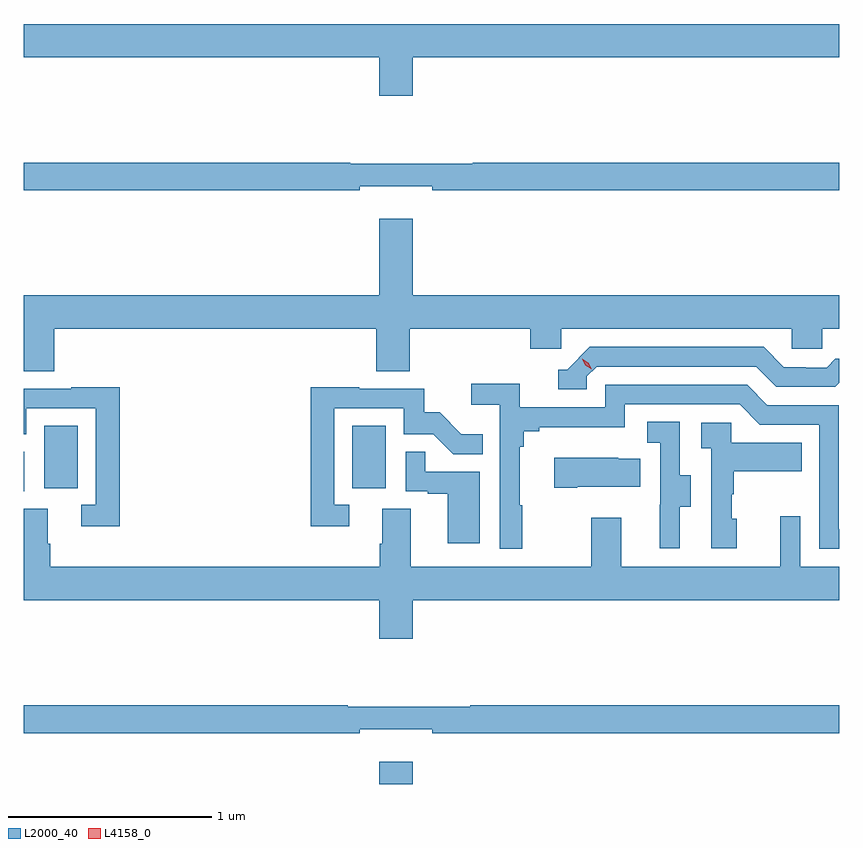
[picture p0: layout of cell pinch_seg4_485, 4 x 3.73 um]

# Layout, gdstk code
import gdstk
lib = gdstk.Library(unit=1e-6, precision=1e-09)
def R(c, l, rs):  # rectangles x0, y0, x1, y1
    for r in rs: c.add(gdstk.rectangle(r[:2], r[2:], *l))
def P(c, l, *ps):  # polygons
    for p in ps: c.add(gdstk.Polygon(p, *l))
L2000_40 = (2000, 40)
L4158_0 = (4158, 0)

pinch_seg4_485 = lib.new_cell('pinch_seg4_485')
R(pinch_seg4_485, L2000_40, [(932.24,762.618,932.404,762.727), (930.496,764.055,930.498,764.249), (930.596,764.07,930.76,764.377), (932.108,764.07,932.272,764.377)])
P(pinch_seg4_485, L2000_40, [(932.404,766.184),(934.496,766.184),(934.496,766.348),(930.496,766.348),(930.496,766.184),(932.24,766.184),(932.24,765.996),(932.404,765.996)],
  [(932.144,765.551),(932.5,765.551),(932.5,765.532),(934.496,765.532),(934.496,765.668),(932.698,765.668),(932.698,765.661),(932.098,765.661),(932.098,765.668),(930.496,765.668),(930.496,765.532),(932.144,765.532)],
  [(930.644,764.852),(932.225,764.852),(932.225,764.644),(932.39,764.644),(932.39,764.852),(932.981,764.852),(932.981,764.754),(933.132,764.754),(933.132,764.852),(934.263,764.852),(934.263,764.754),(934.413,764.754),(934.413,764.852),(934.496,764.852),(934.496,765.016),(932.404,765.016),(932.404,765.391),(932.24,765.391),(932.24,765.016),(930.496,765.016),(930.496,764.644),(930.644,764.644)],
  [(933.258,764.619),(933.306,764.667),(934.089,764.667),(934.188,764.568),(934.477,764.568),(934.496,764.587),(934.496,764.704),(934.477,764.704),(934.435,764.661),(934.332,764.661),(934.332,764.664),(934.225,764.664),(934.126,764.763),(933.273,764.763),(933.162,764.652),(933.119,764.652),(933.119,764.556),(933.258,764.556)],
  [(932.941,763.985),(932.929,763.985),(932.929,764.273),(932.948,764.273),(932.948,764.35),(933.025,764.35),(933.025,764.369),(933.444,764.369),(933.444,764.481),(934.008,764.481),(934.107,764.382),(934.398,764.382),(934.398,763.773),(934.496,763.773),(934.496,763.869),(934.494,763.869),(934.494,764.478),(934.144,764.478),(934.045,764.577),(933.348,764.577),(933.348,764.466),(932.93,764.466),(932.93,764.582),(932.691,764.582),(932.691,764.48),(932.832,764.48),(932.832,763.773),(932.941,763.773)],
  [(932.092,763.989),(932.019,763.989),(932.019,764.463),(932.361,764.463),(932.361,764.334),(932.505,764.334),(932.603,764.236),(932.747,764.236),(932.747,764.335),(932.643,764.335),(932.536,764.442),(932.46,764.442),(932.46,764.559),(932.141,764.559),(932.141,764.564),(931.903,764.564),(931.903,763.884),(932.092,763.884)],
  [(930.965,764.564),(930.727,764.564),(930.727,764.559),(930.496,764.559),(930.496,764.334),(930.507,764.334),(930.507,764.463),(930.849,764.463),(930.849,763.989),(930.777,763.989),(930.777,763.884),(930.965,763.884)],
  [(933.715,763.978),(933.769,763.978),(933.769,764.133),(933.714,764.133),(933.714,764.396),(933.555,764.396),(933.555,764.293),(933.618,764.293),(933.618,763.989),(933.617,763.989),(933.617,763.776),(933.715,763.776)],
  [(933.994,763.92),(933.969,763.92),(933.969,764.039),(933.979,764.039),(933.979,764.153),(934.313,764.153),(934.313,764.293),(933.966,764.293),(933.966,764.391),(933.819,764.391),(933.819,764.267),(933.87,764.267),(933.87,763.776),(933.994,763.776)],
  [(932.734,764.151),(932.465,764.151),(932.465,764.249),(932.37,764.249),(932.37,764.055),(932.477,764.055),(932.477,764.043),(932.576,764.043),(932.576,763.8),(932.734,763.8)],
  [(933.211,764.078),(933.521,764.078),(933.521,764.215),(933.413,764.215),(933.413,764.218),(933.099,764.218),(933.099,764.071),(933.211,764.071)],
  [(932.255,763.97),(932.255,763.796),(932.243,763.796),(932.243,763.684),(930.626,763.684),(930.626,763.796),(930.613,763.796),(930.613,763.97),(930.496,763.97),(930.496,763.52),(932.24,763.52),(932.24,763.332),(932.404,763.332),(932.404,763.52),(934.496,763.52),(934.496,763.684),(934.305,763.684),(934.305,763.933),(934.208,763.933),(934.208,763.684),(933.427,763.684),(933.427,763.924),(933.28,763.924),(933.28,763.684),(932.395,763.684),(932.395,763.97)],
  [(932.144,762.887),(932.5,762.887),(932.5,762.868),(934.496,762.868),(934.496,763.004),(932.686,763.004),(932.686,762.997),(932.086,762.997),(932.086,763.004),(930.496,763.004),(930.496,762.868),(932.144,762.868)])
P(pinch_seg4_485, L4158_0, [(933.282,764.653),(933.251,764.672),(933.235,764.705),(933.235,764.705),(933.235,764.705),(933.266,764.686),(933.283,764.653),(933.283,764.653)])

lib.write_gds('pinch_seg4_485.gds')
